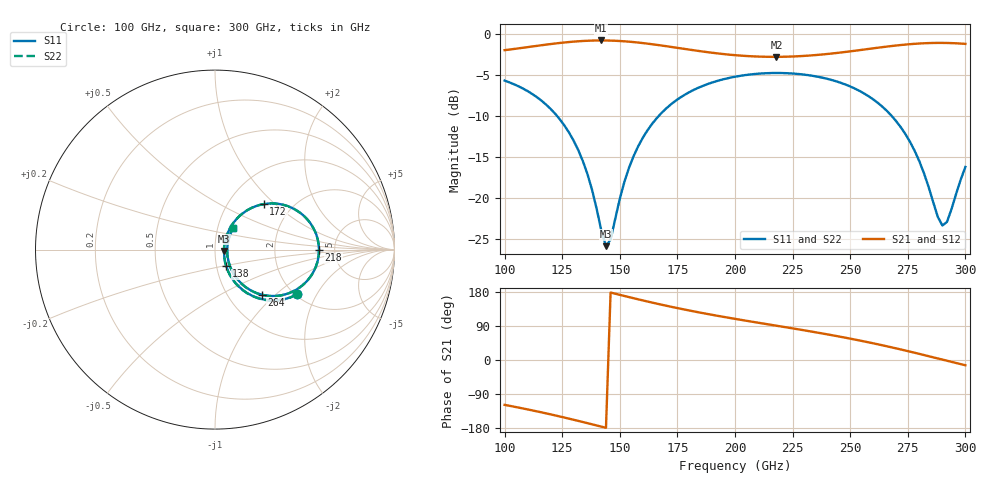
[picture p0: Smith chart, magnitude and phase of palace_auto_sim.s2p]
#  GHZ S DB R 50
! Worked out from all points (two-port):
!   101 points, 100 GHz to 300 GHz, reference 50 ohm
!   highest |S21| = -0.78 dB at 142 GHz (marker M1); lowest = -2.8 dB at 218 GHz (marker M2)
!   |S21| within 3 dB of the highest: start of sweep to end of sweep
!   lowest |S11| = -25.9 dB at 144 GHz (marker M3), VSWR 1.11, Z = 55.3 - j0.892 ohm
!   |S11| at or under -10 dB: 122.8 GHz to 166.8 GHz (44.04 GHz wide, 30.4 % of centre); 268.1 GHz to end of sweep
!   |S22| runs from -26.0 to -4.7 dB; largest |S21 - S12| = 1.5e-14
!   S11 on the Smith chart (normalised r, x): 100 GHz: 2.05, -1.40; 138 GHz: 1.11, -0.21; 172 GHz: 1.45, +0.85; 218 GHz: 3.75, -0.04; 264 GHz: 1.42, -0.82; 300 GHz: 1.18, +0.29
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100  -5.67 -28.5  -1.96 -118.4  -1.96 -118.4  -5.67 -28.7
120  -9.13 -49.4  -1.22 -143.5  -1.22 -143.5  -9.13 -49.7
128  -12.02 -56.8  -0.97 -154.9  -0.97 -154.9  -12.03 -57.1
134  -15.51 -59.4  -0.84 -163.7  -0.84 -163.7  -15.52 -59.8
138  -19.03 -55.7  -0.79 -169.8  -0.79 -169.8  -19.06 -56.3
142  -23.99 -35.3  -0.78 -175.9  -0.78 -175.9  -24.10 -36.1
144  -25.85 -9.1  -0.78 -178.9  -0.78 -178.9  -26.04 -9.5
146  -25.05 21.3  -0.79 178.0  -0.79 178.0  -25.21 21.7
152  -18.00 53.6  -0.88 168.9  -0.88 168.9  -18.04 54.0
156  -14.87 55.4  -0.98 163.0  -0.98 163.0  -14.89 55.7
168  -9.65 47.0  -1.39 146.1  -1.39 146.1  -9.65 47.1
172  -8.61 43.1  -1.55 140.8  -1.55 140.8  -8.62 43.1
200  -5.20 16.0  -2.57 108.6  -2.57 108.6  -5.20 15.9
218  -4.74 -0.3  -2.77 90.5  -2.77 90.5  -4.74 -0.4
234  -5.10 -14.9  -2.58 74.2  -2.58 74.2  -5.10 -15.0
250  -6.39 -30.3  -2.10 56.4  -2.10 56.4  -6.39 -30.4
264  -8.86 -44.1  -1.59 38.8  -1.59 38.8  -8.86 -44.2
268  -9.97 -47.6  -1.46 33.4  -1.46 33.4  -9.97 -47.7
278  -14.24 -52.9  -1.19 19.1  -1.19 19.1  -14.24 -53.1
290  -23.33 -5.9  -1.08 1.1  -1.08 1.1  -23.34 -6.0
292  -22.90 15.7  -1.08 -1.9  -1.08 -1.9  -22.91 15.6
300  -16.20 49.8  -1.19 -13.9  -1.19 -13.9  -16.20 49.7
